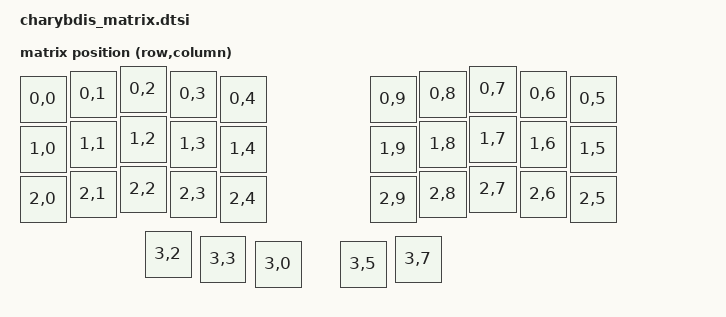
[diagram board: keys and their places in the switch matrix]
#include <dt-bindings/zmk/matrix_transform.h>
#include <physical_layouts.dtsi>

/ {
    chosen {
        zmk,physical-layout = &charybdis_physical_layout;
    };

    charybdis_physical_layout: charybdis_physical_layout {
        compatible = "zmk,physical-layout";
        display-name = "Default";
        transform = <&default_transform>;

        keys  //                     w   h    x    y     rot    rx    ry
            /* Row 0 */
            = <&key_physical_attrs 100 100    0   20       0     0     0>
            , <&key_physical_attrs 100 100  100   10       0     0     0>
            , <&key_physical_attrs 100 100  200    0       0     0     0>
            , <&key_physical_attrs 100 100  300   10       0     0     0>
            , <&key_physical_attrs 100 100  400   20       0     0     0>
            , <&key_physical_attrs 100 100  700   20       0     0     0>
            , <&key_physical_attrs 100 100  800   10       0     0     0>
            , <&key_physical_attrs 100 100  900    0       0     0     0>
            , <&key_physical_attrs 100 100 1000   10       0     0     0>
            , <&key_physical_attrs 100 100 1100   20       0     0     0>
            /* Row 1 */
            , <&key_physical_attrs 100 100    0  120       0     0     0>
            , <&key_physical_attrs 100 100  100  110       0     0     0>
            , <&key_physical_attrs 100 100  200  100       0     0     0>
            , <&key_physical_attrs 100 100  300  110       0     0     0>
            , <&key_physical_attrs 100 100  400  120       0     0     0>
            , <&key_physical_attrs 100 100  700  120       0     0     0>
            , <&key_physical_attrs 100 100  800  110       0     0     0>
            , <&key_physical_attrs 100 100  900  100       0     0     0>
            , <&key_physical_attrs 100 100 1000  110       0     0     0>
            , <&key_physical_attrs 100 100 1100  120       0     0     0>
            /* Row 2 */
            , <&key_physical_attrs 100 100    0  220       0     0     0>
            , <&key_physical_attrs 100 100  100  210       0     0     0>
            , <&key_physical_attrs 100 100  200  200       0     0     0>
            , <&key_physical_attrs 100 100  300  210       0     0     0>
            , <&key_physical_attrs 100 100  400  220       0     0     0>
            , <&key_physical_attrs 100 100  700  220       0     0     0>
            , <&key_physical_attrs 100 100  800  210       0     0     0>
            , <&key_physical_attrs 100 100  900  200       0     0     0>
            , <&key_physical_attrs 100 100 1000  210       0     0     0>
            , <&key_physical_attrs 100 100 1100  220       0     0     0>
            /* Row 3 thumbs: left RC(3,2) RC(3,3) RC(3,0) | right RC(3,5) RC(3,7) */
            , <&key_physical_attrs 100 100  250  330       0     0     0>
            , <&key_physical_attrs 100 100  360  340       0     0     0>
            , <&key_physical_attrs 100 100  470  350       0     0     0>
            , <&key_physical_attrs 100 100  640  350       0     0     0>
            , <&key_physical_attrs 100 100  750  340       0     0     0>
            ;
    };

    default_transform: keymap_transform_0 {
        compatible = "zmk,matrix-transform";
        columns = <10>;
        rows = <4>;
        map = <
            RC(0,0) RC(0,1) RC(0,2) RC(0,3) RC(0,4)  RC(0,9) RC(0,8) RC(0,7) RC(0,6) RC(0,5)
            RC(1,0) RC(1,1) RC(1,2) RC(1,3) RC(1,4)  RC(1,9) RC(1,8) RC(1,7) RC(1,6) RC(1,5)
            RC(2,0) RC(2,1) RC(2,2) RC(2,3) RC(2,4)  RC(2,9) RC(2,8) RC(2,7) RC(2,6) RC(2,5)
                            RC(3,2) RC(3,3) RC(3,0)  RC(3,5)  RC(3,7)
        >;
    };
};
